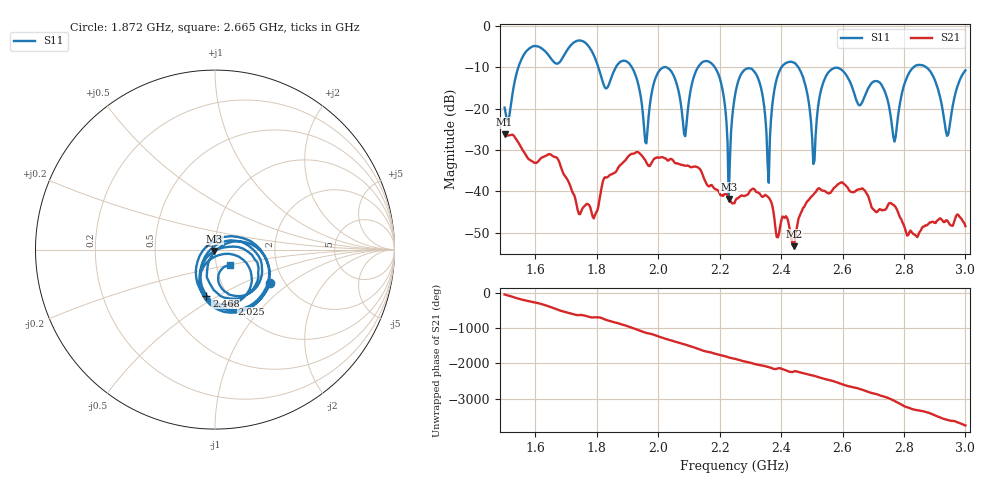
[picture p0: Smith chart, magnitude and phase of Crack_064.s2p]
# HZ S RI R 50
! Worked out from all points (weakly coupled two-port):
!   404 points, 1.5 GHz to 3 GHz, reference 50 ohm
!   highest |S21| = -26.21 dB at 1.5 GHz (marker M1); lowest = -53.2 dB at 2.442 GHz (marker M2)
!   lowest |S11| = -41.8 dB at 2.23 GHz (marker M3), VSWR 1.02, Z = 49.6 - j0.707 ohm
!   |S11| at or under -10 dB: 2.184 GHz to 2.401 GHz (217 MHz wide, 9.47 % of centre); 2.456 GHz to 2.831 GHz (375.2 MHz wide, 14.2 % of centre); 2.873 GHz to end of sweep (the widest 3 of 7)
!   S12 and S22 are empty: the file has one direction only
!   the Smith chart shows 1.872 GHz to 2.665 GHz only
!   S11 on the Smith chart (normalised r, x): 1.872 GHz: 1.68, -0.71; 2.025 GHz: 0.98, -0.66; 2.468 GHz: 0.80, -0.44; 2.665 GHz: 1.17, -0.21
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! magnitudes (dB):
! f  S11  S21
! 1.5 GHz  -19.8  -26.2
! 1.753 GHz  -3.7  -44.2
! 1.872 GHz  -9.0  -34.0
! 1.962 GHz  -28.4  -33.0
! 2.002 GHz  -11.0  -31.9
! 2.025 GHz  -10.0  -32.1
! 2.088 GHz  -26.7  -33.8
! 2.181 GHz  -9.7  -39.2
! 2.23 GHz  -41.8  -41.5
! 2.252 GHz  -16.0  -42.1
! 2.315 GHz  -11.3  -39.7
! 2.36 GHz  -37.9  -41.5
! 2.39 GHz  -11.9  -51.1
! 2.442 GHz  -8.9  -53.2
! 2.468 GHz  -11.7  -44.7
! 2.501 GHz  -27.2  -41.1
! 2.565 GHz  -10.5  -40.0
! 2.665 GHz  -18.3  -39.3
! 2.751 GHz  -19.1  -42.9
! 2.862 GHz  -9.6  -48.5
! 2.94 GHz  -26.6  -47.0
! 3 GHz  -10.8  -48.4
